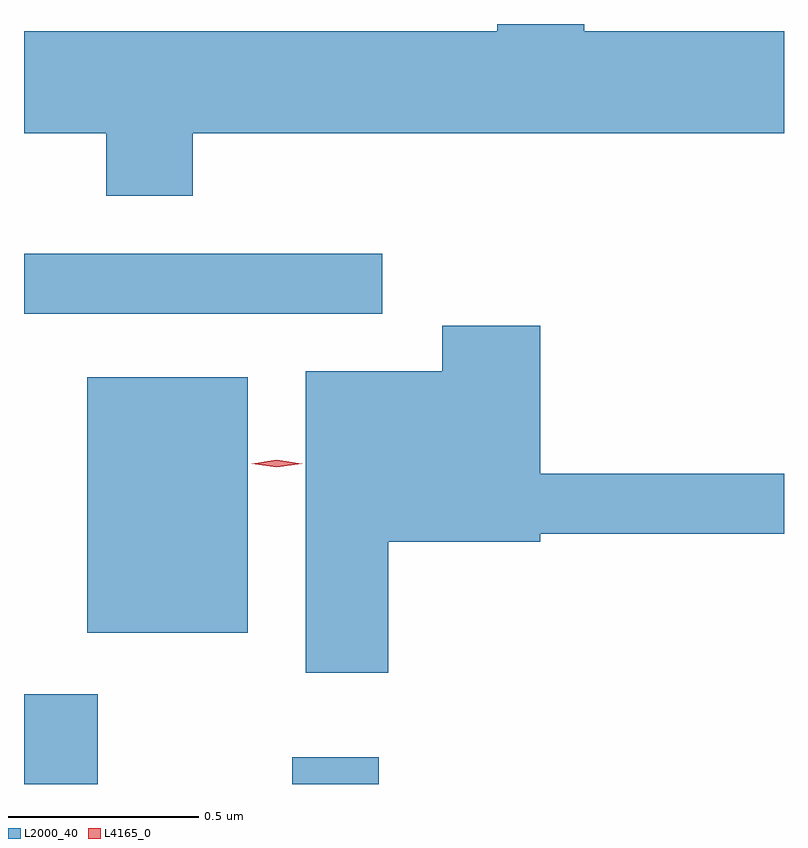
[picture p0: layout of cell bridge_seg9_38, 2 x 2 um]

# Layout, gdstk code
import gdstk
lib = gdstk.Library(unit=1e-6, precision=1e-09)
def R(c, l, rs):  # rectangles x0, y0, x1, y1
    for r in rs: c.add(gdstk.rectangle(r[:2], r[2:], *l))
def P(c, l, *ps):  # polygons
    for p in ps: c.add(gdstk.Polygon(p, *l))
L2000_40 = (2000, 40)
L4165_0 = (4165, 0)

bridge_seg9_38 = lib.new_cell('bridge_seg9_38')
R(bridge_seg9_38, L2000_40, [(1657.165,2052.263,1657.359,2052.499), (1657.871,2052.263,1658.099,2052.334), (1657.331,2052.661,1657.754,2053.334), (1657.165,2053.501,1658.108,2053.659)])
P(bridge_seg9_38, L2000_40, [(1657.609,2053.976),(1659.165,2053.976),(1659.165,2054.244),(1658.639,2054.244),(1658.639,2054.263),(1658.411,2054.263),(1658.411,2054.244),(1657.165,2054.244),(1657.165,2053.976),(1657.381,2053.976),(1657.381,2053.811),(1657.609,2053.811)],
  [(1658.124,2052.901),(1658.524,2052.901),(1658.524,2052.921),(1659.165,2052.921),(1659.165,2053.079),(1658.524,2053.079),(1658.524,2053.469),(1658.266,2053.469),(1658.266,2053.349),(1657.906,2053.349),(1657.906,2052.556),(1658.124,2052.556)])
P(bridge_seg9_38, L4165_0, [(1657.83,2053.096),(1657.764,2053.106),(1657.763,2053.106),(1657.764,2053.106),(1657.83,2053.116),(1657.896,2053.106),(1657.897,2053.106),(1657.896,2053.106)])

lib.write_gds('bridge_seg9_38.gds')
